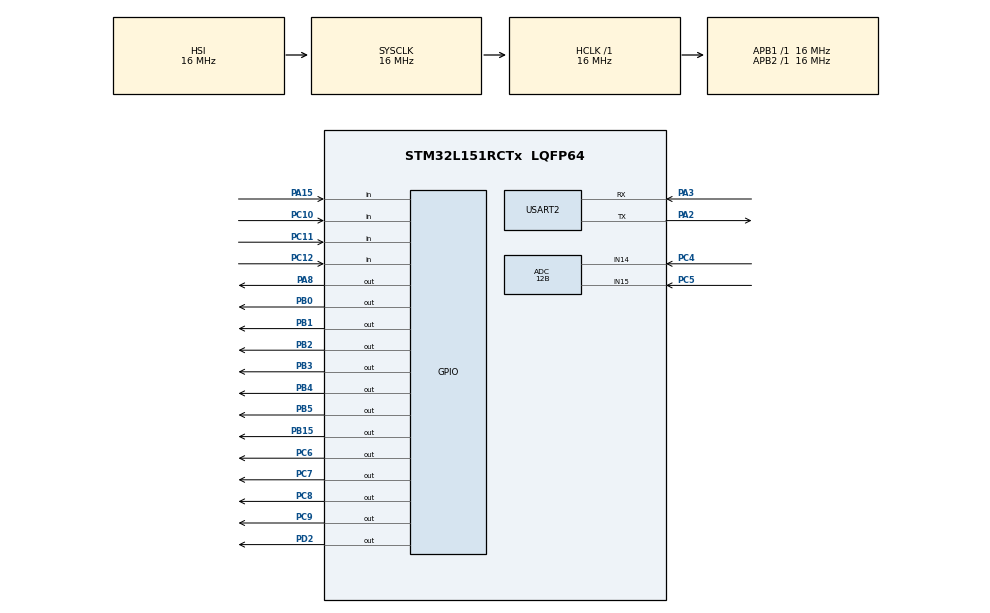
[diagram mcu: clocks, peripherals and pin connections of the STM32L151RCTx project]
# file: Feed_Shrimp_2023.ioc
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ADC.Channel-0\#ChannelRegularConversion=ADC_CHANNEL_15
ADC.Channel-1\#ChannelRegularConversion=ADC_CHANNEL_14
ADC.ContinuousConvMode=DISABLE
ADC.DMAContinuousRequests=ENABLE
ADC.ExternalTrigConv=ADC_SOFTWARE_START
ADC.InjNumberOfConversion=0
ADC.NbrOfConversion=2
ADC.NbrOfConversionFlag=1
ADC.Rank-0\#ChannelRegularConversion=1
ADC.Rank-1\#ChannelRegularConversion=2
ADC.Resolution=ADC_RESOLUTION_12B
ADC.SamplingTime-0\#ChannelRegularConversion=ADC_SAMPLETIME_384CYCLES
ADC.SamplingTime-1\#ChannelRegularConversion=ADC_SAMPLETIME_384CYCLES
ADC.ScanConvMode=ADC_SCAN_ENABLE
Dma.ADC.0.Direction=DMA_PERIPH_TO_MEMORY
Dma.ADC.0.Instance=DMA1_Channel1
Dma.ADC.0.MemDataAlignment=DMA_MDATAALIGN_HALFWORD
Dma.ADC.0.MemInc=DMA_MINC_ENABLE
Dma.ADC.0.Mode=DMA_CIRCULAR
Dma.ADC.0.PeriphDataAlignment=DMA_PDATAALIGN_HALFWORD
Dma.ADC.0.PeriphInc=DMA_PINC_DISABLE
Dma.ADC.0.Priority=DMA_PRIORITY_LOW
Dma.Request0=ADC
Mcu.Family=STM32L1
Mcu.Name=STM32L151RCTx
Mcu.Package=LQFP64
NVIC.ADC1_IRQn=true\:0\:0\:false\:false\:true\:true\:true\:true
NVIC.DMA1_Channel1_IRQn=true\:0\:0\:true\:false\:true\:false\:true\:true
NVIC.PriorityGroup=NVIC_PRIORITYGROUP_4
NVIC.TIM3_IRQn=true\:1\:0\:true\:false\:true\:true\:true\:true
NVIC.USART2_IRQn=true\:2\:0\:true\:false\:true\:true\:true\:true
PA13.Mode=Serial_Wire
PA13.Signal=SYS_JTMS-SWDIO
PA14.Mode=Serial_Wire
PA14.Signal=SYS_JTCK-SWCLK
PA15.GPIO_PuPd=GPIO_PULLUP
PA15.Signal=GPIO_Input
PA2.Mode=Asynchronous
PA2.Signal=USART2_TX
PA3.Mode=Asynchronous
PA3.Signal=USART2_RX
PA8.Signal=GPIO_Output
PB0.GPIO_PuPd=GPIO_PULLDOWN
PB0.Signal=GPIO_Output
PB1.GPIO_PuPd=GPIO_PULLDOWN
PB1.Signal=GPIO_Output
PB15.Signal=GPIO_Output
PB2.GPIO_PuPd=GPIO_PULLDOWN
PB2.Signal=GPIO_Output
PB3.GPIO_PuPd=GPIO_PULLDOWN
PB3.Signal=GPIO_Output
PB4.GPIO_PuPd=GPIO_PULLDOWN
PB4.Signal=GPIO_Output
PB5.GPIO_PuPd=GPIO_PULLDOWN
PB5.Signal=GPIO_Output
PC10.GPIO_PuPd=GPIO_PULLUP
PC10.Signal=GPIO_Input
PC11.GPIO_PuPd=GPIO_PULLUP
PC11.Signal=GPIO_Input
PC12.GPIO_PuPd=GPIO_PULLUP
PC12.Signal=GPIO_Input
PC14-OSC32_IN.Mode=LSE-External-Oscillator
PC14-OSC32_IN.Signal=RCC_OSC32_IN
PC15-OSC32_OUT.Mode=LSE-External-Oscillator
PC15-OSC32_OUT.Signal=RCC_OSC32_OUT
PC4.Mode=IN14
PC4.Signal=ADC_IN14
PC5.Mode=IN15
PC5.Signal=ADC_IN15
PC6.Signal=GPIO_Output
PC7.Signal=GPIO_Output
PC8.Signal=GPIO_Output
PC9.Signal=GPIO_Output
PD2.Signal=GPIO_Output
ProjectManager.HeapSize=0x200
ProjectManager.StackSize=0x400
ProjectManager.TargetToolchain=MDK-ARM V5
RCC.AHBFreq_Value=16000000
RCC.APB1Freq_Value=16000000
RCC.APB1TimFreq_Value=16000000
RCC.APB2Freq_Value=16000000
RCC.APB2TimFreq_Value=16000000
RCC.HCLKFreq_Value=16000000
RCC.HSE_VALUE=24000000
RCC.HSI_VALUE=16000000
RCC.MSI_VALUE=2097000
RCC.RTCClockSelection=RCC_RTCCLKSOURCE_LSE
RCC.SYSCLKFreq_VALUE=16000000
RCC.SYSCLKSource=RCC_SYSCLKSOURCE_HSI
RCC.VCOOutputFreq_Value=48000000
TIM3.Period=999
TIM3.Prescaler=160
USART2.VirtualMode=VM_ASYNC
VP_RTC_VS_RTC_Activate.Mode=RTC_Enabled
VP_RTC_VS_RTC_Calendar.Mode=RTC_Calendar
VP_TIM3_VS_ClockSourceINT.Mode=Internal
board=custom

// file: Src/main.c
/* USER CODE BEGIN Header */
/**
  ******************************************************************************
  * @file           : main.c
  * @brief          : Main program body
  ******************************************************************************
  * @attention
  *
  * <h2><center>&copy; Copyright (c) 2023 STMicroelectronics.
  * All rights reserved.</center></h2>
  *
  * This software component is licensed by ST under BSD 3-Clause license,
  * the "License"; You may not use this file except in compliance with the
  * License. You may obtain a copy of the License at:
  *                        opensource.org/licenses/BSD-3-Clause
  *
  ******************************************************************************
  */
/* USER CODE END Header */
#include "main.h"

/* USER CODE BEGIN Includes */
#include "main.h"
#include "user_relay_led.h"
#include "user_check_button.h"
#include "uart_sim.h"
#include "ACS712.h"
#include "uart_debug.h"
//#include "user_sim.h"
/* USER CODE END Includes */

/* USER CODE BEGIN PD */

//#define On_Off_Sim GPIO_PIN_13
//#define Pin_PWKEY  GPIO_PIN_0
//#define Pin_RESET  GPIO_PIN_5
/* USER CODE END PD */

ADC_HandleTypeDef hadc;
DMA_HandleTypeDef hdma_adc;

RTC_HandleTypeDef hrtc;

TIM_HandleTypeDef htim3;

UART_HandleTypeDef huart2;

/* USER CODE BEGIN PV */
uint32_t runTime=0;
uint32_t time1=10; //so giay cho an
uint32_t time2=1;	//so phut giua 2 chu ky ban
uint32_t time3=5; //thoi gian giua 2 moto vang va chinh luong
float threshold_Relay1_Float=0.0;
float threshold_Relay2_Float=0.0;

uint32_t threshold_Relay1_Uint=0;
uint32_t threshold_Relay2_Uint=0;

uint16_t State=1;
uint16_t stateWarning_Run=0;
uint16_t stateWarning_Relay3=0;
uint16_t checkState=0;
uint16_t countState=0;
uint16_t setupCount=1;
uint16_t check_Power_OFF=0;
uint16_t check_Power=0;
uint16_t check_Power_setup=0;

//gio phut giay
uint16_t hh, mm, ss;

CLCD_Name LCD;

UART_BUFFER rx_uart2;

float ACS_Value_Float=0;
uint32_t ACS_Value_Uint=0;
uint16_t ADC_stamp[2];

uint8_t check_RTC=0;
RTC_TimeTypeDef sTime;
RTC_DateTypeDef sDate;
//UART_BUFFER rx_uart1;
/* USER CODE END PV */

void SystemClock_Config(void);
static void MX_GPIO_Init(void);
static void MX_DMA_Init(void);
static void MX_ADC_Init(void);
static void MX_USART2_UART_Init(void);
static void MX_TIM3_Init(void);
static void MX_RTC_Init(void);
/* USER CODE BEGIN PFP */
void HAL_TIM_PeriodElapsedCallback(TIM_HandleTypeDef *htim);
void HAL_UART_RxCpltCallback(UART_HandleTypeDef *huart);
void HAL_ADC_ConvCpltCallback(ADC_HandleTypeDef* hadc);
/* USER CODE END PFP */

/* USER CODE BEGIN 0 */
void Check_BT_Callback(void);
void Check_Test(void);
void Set_Time(uint16_t *hh, uint16_t *mm, uint16_t *ss);
void Run_Feed_Shrimp(void);
void Display_Time(void);
void Setup_SIM(void);
void Read_Flash(void);
void Check_SMS_Receive(void);
void State_Warning(void);
void Time_RTC(void);
/* USER CODE END 0 */

int main(void)
{
  /* USER CODE BEGIN 1 */
	//rx_uart1.huart=&huart1;
	rx_uart2.huart=&huart2;
  /* USER CODE END 1 */

  /* MCU Configuration--------------------------------------------------------*/

  /* Reset of all peripherals, Initializes the Flash interface and the Systick. */
  HAL_Init();

  /* Configure the system clock */
  SystemClock_Config();

  /* Initialize all configured peripherals */
  MX_GPIO_Init();
  MX_DMA_Init();
  MX_ADC_Init();
  MX_USART2_UART_Init();
  MX_TIM3_Init();
  MX_RTC_Init();
  /* USER CODE BEGIN 2 */
	//HAL_TIM_Base_Start_IT(&htim2);
	HAL_TIM_Base_Start_IT(&htim3);
	HAL_UART_Receive_IT(&huart2,&rx_uart2.buffer,4);
	//HAL_ADC_Start_IT(&hadc);
	//HAL_ADC_Start(&hadc);
	//HAL_UART_Receive_IT(&huart1,&rx_uart1.buffer,1);

	CLCD_4BIT_Init(&LCD, 16,2, GPIOB, GPIO_PIN_15,GPIOC, GPIO_PIN_6,
                             GPIOC, GPIO_PIN_7,GPIOC, GPIO_PIN_8,
                             GPIOC, GPIO_PIN_9,GPIOA, GPIO_PIN_8);
	Read_Flash();

	CLCD_SetCursor(&LCD, 0,0);
	CLCD_WriteString(&LCD, "        00:00:00");

	Run_Begin(State,&setupCount, ACS_Value_Float ,time1, time2, time3, threshold_Relay1_Uint, threshold_Relay2_Uint);
	HAL_ADC_Start_DMA(&hadc, (uint32_t*) ADC_stamp,2);
  /* USER CODE END 2 */

  /* Infinite loop */
  while (1)
  {

    /* USER CODE BEGIN 3 */
		//Check_SMS_Receive();
		Time_RTC();
		Display_Time();
		debug_uart(&huart2, State, countState);
		Check_BT_Callback();
		LED_Status_Run(State, countState);

		USER_LCD_Display_Warning(&LCD, stateWarning_Run);
		State_Warning();

		if(State==0 )
		{
			stateWarning_Run=0;
			if(setupCount!=4) BT_Check_Up_Down(setupCount);
			BT_Esc_Exit_Setup(&State, &setupCount, ACS_Value_Float,time1, time2, time3, threshold_Relay1_Uint, threshold_Relay2_Uint);
			USER_LCD_Display_Running_OR_Setup(State);
			USER_LCD_Display_Setup(&LCD, setupCount);
			USER_LCD_Display_X(&LCD, setupCount, ACS_Value_Float);
		}

		if(State==1 )
		{
			Run_Feed_Shrimp();
			USER_LCD_Display_Running_OR_Setup(State);
			USER_LCD_Display_Running(&LCD, setupCount, ACS_Value_Float);
			USER_LCD_Display_X(&LCD, setupCount, ACS_Value_Float);
		}
  }
  /* USER CODE END 3 */
}

void SystemClock_Config(void)
{
  RCC_OscInitTypeDef RCC_OscInitStruct = {0};
  RCC_ClkInitTypeDef RCC_ClkInitStruct = {0};
  RCC_PeriphCLKInitTypeDef PeriphClkInit = {0};

  /** Configure the main internal regulator output voltage
  */
  __HAL_PWR_VOLTAGESCALING_CONFIG(PWR_REGULATOR_VOLTAGE_SCALE1);

  /** Initializes the RCC Oscillators according to the specified parameters
  * in the RCC_OscInitTypeDef structure.
  */
  RCC_OscInitStruct.OscillatorType = RCC_OSCILLATORTYPE_HSI|RCC_OSCILLATORTYPE_LSE;
  RCC_OscInitStruct.LSEState = RCC_LSE_ON;
  RCC_OscInitStruct.HSIState = RCC_HSI_ON;
  RCC_OscInitStruct.HSICalibrationValue = RCC_HSICALIBRATION_DEFAULT;
  RCC_OscInitStruct.PLL.PLLState = RCC_PLL_NONE;
  if (HAL_RCC_OscConfig(&RCC_OscInitStruct) != HAL_OK)
  {
    Error_Handler();
  }

  /** Initializes the CPU, AHB and APB buses clocks
  */
  RCC_ClkInitStruct.ClockType = RCC_CLOCKTYPE_HCLK|RCC_CLOCKTYPE_SYSCLK
                              |RCC_CLOCKTYPE_PCLK1|RCC_CLOCKTYPE_PCLK2;
  RCC_ClkInitStruct.SYSCLKSource = RCC_SYSCLKSOURCE_HSI;
  RCC_ClkInitStruct.AHBCLKDivider = RCC_SYSCLK_DIV1;
  RCC_ClkInitStruct.APB1CLKDivider = RCC_HCLK_DIV1;
  RCC_ClkInitStruct.APB2CLKDivider = RCC_HCLK_DIV1;

  if (HAL_RCC_ClockConfig(&RCC_ClkInitStruct, FLASH_LATENCY_0) != HAL_OK)
  {
    Error_Handler();
  }
  PeriphClkInit.PeriphClockSelection = RCC_PERIPHCLK_RTC;
  PeriphClkInit.RTCClockSelection = RCC_RTCCLKSOURCE_LSE;
  if (HAL_RCCEx_PeriphCLKConfig(&PeriphClkInit) != HAL_OK)
  {
    Error_Handler();
  }
}

static void MX_ADC_Init(void)
{

  ADC_ChannelConfTypeDef sConfig = {0};

  /** Configure the global features of the ADC (Clock, Resolution, Data Alignment and number of conversion)
  */
  hadc.Instance = ADC1;
  hadc.Init.ClockPrescaler = ADC_CLOCK_ASYNC_DIV1;
  hadc.Init.Resolution = ADC_RESOLUTION_12B;
  hadc.Init.DataAlign = ADC_DATAALIGN_RIGHT;
  hadc.Init.ScanConvMode = ADC_SCAN_ENABLE;
  hadc.Init.EOCSelection = ADC_EOC_SEQ_CONV;
  hadc.Init.LowPowerAutoWait = ADC_AUTOWAIT_DISABLE;
  hadc.Init.LowPowerAutoPowerOff = ADC_AUTOPOWEROFF_DISABLE;
  hadc.Init.ChannelsBank = ADC_CHANNELS_BANK_A;
  hadc.Init.ContinuousConvMode = DISABLE;
  hadc.Init.NbrOfConversion = 2;
  hadc.Init.DiscontinuousConvMode = DISABLE;
  hadc.Init.ExternalTrigConv = ADC_SOFTWARE_START;
  hadc.Init.ExternalTrigConvEdge = ADC_EXTERNALTRIGCONVEDGE_NONE;
  hadc.Init.DMAContinuousRequests = ENABLE;
  if (HAL_ADC_Init(&hadc) != HAL_OK)
  {
    Error_Handler();
  }

  /** Configure for the selected ADC regular channel its corresponding rank in the sequencer and its sample time.
  */
  sConfig.Channel = ADC_CHANNEL_15;
  sConfig.Rank = ADC_REGULAR_RANK_1;
  sConfig.SamplingTime = ADC_SAMPLETIME_384CYCLES;
  if (HAL_ADC_ConfigChannel(&hadc, &sConfig) != HAL_OK)
  {
    Error_Handler();
  }

  /** Configure for the selected ADC regular channel its corresponding rank in the sequencer and its sample time.
  */
  sConfig.Channel = ADC_CHANNEL_14;
  sConfig.Rank = ADC_REGULAR_RANK_2;
  if (HAL_ADC_ConfigChannel(&hadc, &sConfig) != HAL_OK)
  {
    Error_Handler();
  }

}

static void MX_RTC_Init(void)
{

  RTC_TimeTypeDef sTime = {0};
  RTC_DateTypeDef sDate = {0};

  /** Initialize RTC Only
  */
  hrtc.Instance = RTC;
  hrtc.Init.HourFormat = RTC_HOURFORMAT_24;
  hrtc.Init.AsynchPrediv = 127;
  hrtc.Init.SynchPrediv = 255;
  hrtc.Init.OutPut = RTC_OUTPUT_DISABLE;
  hrtc.Init.OutPutPolarity = RTC_OUTPUT_POLARITY_HIGH;
  hrtc.Init.OutPutType = RTC_OUTPUT_TYPE_OPENDRAIN;
  if (HAL_RTC_Init(&hrtc) != HAL_OK)
  {
    Error_Handler();
  }

  /* USER CODE BEGIN Check_RTC_BKUP */
	if(HAL_RTCEx_BKUPRead(&hrtc, RTC_BKP_DR1)==0x2608)
	{
  /* USER CODE END Check_RTC_BKUP */

  /** Initialize RTC and set the Time and Date
  */
  sTime.Hours = 0x0;
  sTime.Minutes = 0x0;
  sTime.Seconds = 0x0;
  sTime.DayLightSaving = RTC_DAYLIGHTSAVING_NONE;
  sTime.StoreOperation = RTC_STOREOPERATION_RESET;
  if (HAL_RTC_SetTime(&hrtc, &sTime, RTC_FORMAT_BCD) != HAL_OK)
  {
    Error_Handler();
  }
  sDate.WeekDay = RTC_WEEKDAY_MONDAY;
  sDate.Month = RTC_MONTH_JANUARY;
  sDate.Date = 0x1;
  sDate.Year = 0x0;

  if (HAL_RTC_SetDate(&hrtc, &sDate, RTC_FORMAT_BCD) != HAL_OK)
  {
    Error_Handler();
  }
  /* USER CODE BEGIN RTC_Init 2 */
	HAL_RTCEx_BKUPWrite(&hrtc, RTC_BKP_DR1, 0x2608);
	}
  /* USER CODE END RTC_Init 2 */

}

static void MX_TIM3_Init(void)
{

  TIM_ClockConfigTypeDef sClockSourceConfig = {0};
  TIM_MasterConfigTypeDef sMasterConfig = {0};

  htim3.Instance = TIM3;
  htim3.Init.Prescaler = 160;
  htim3.Init.CounterMode = TIM_COUNTERMODE_UP;
  htim3.Init.Period = 999;
  htim3.Init.ClockDivision = TIM_CLOCKDIVISION_DIV1;
  htim3.Init.AutoReloadPreload = TIM_AUTORELOAD_PRELOAD_DISABLE;
  if (HAL_TIM_Base_Init(&htim3) != HAL_OK)
  {
    Error_Handler();
  }
  sClockSourceConfig.ClockSource = TIM_CLOCKSOURCE_INTERNAL;
  if (HAL_TIM_ConfigClockSource(&htim3, &sClockSourceConfig) != HAL_OK)
  {
    Error_Handler();
  }
  sMasterConfig.MasterOutputTrigger = TIM_TRGO_RESET;
  sMasterConfig.MasterSlaveMode = TIM_MASTERSLAVEMODE_DISABLE;
  if (HAL_TIMEx_MasterConfigSynchronization(&htim3, &sMasterConfig) != HAL_OK)
  {
    Error_Handler();
  }

}

static void MX_USART2_UART_Init(void)
{

  huart2.Instance = USART2;
  huart2.Init.BaudRate = 115200;
  huart2.Init.WordLength = UART_WORDLENGTH_8B;
  huart2.Init.StopBits = UART_STOPBITS_1;
  huart2.Init.Parity = UART_PARITY_NONE;
  huart2.Init.Mode = UART_MODE_TX_RX;
  huart2.Init.HwFlowCtl = UART_HWCONTROL_NONE;
  huart2.Init.OverSampling = UART_OVERSAMPLING_16;
  if (HAL_UART_Init(&huart2) != HAL_OK)
  {
    Error_Handler();
  }

}

static void MX_DMA_Init(void)
{

  /* DMA controller clock enable */
  __HAL_RCC_DMA1_CLK_ENABLE();

  /* DMA interrupt init */
  /* DMA1_Channel1_IRQn interrupt configuration */
  HAL_NVIC_SetPriority(DMA1_Channel1_IRQn, 0, 0);
  HAL_NVIC_EnableIRQ(DMA1_Channel1_IRQn);

}

static void MX_GPIO_Init(void)
{
  GPIO_InitTypeDef GPIO_InitStruct = {0};

  /* GPIO Ports Clock Enable */
  __HAL_RCC_GPIOC_CLK_ENABLE();
  __HAL_RCC_GPIOA_CLK_ENABLE();
  __HAL_RCC_GPIOB_CLK_ENABLE();
  __HAL_RCC_GPIOD_CLK_ENABLE();

  /*Configure GPIO pin Output Level */
  HAL_GPIO_WritePin(GPIOB, GPIO_PIN_0|GPIO_PIN_1|GPIO_PIN_2|GPIO_PIN_15
                          |GPIO_PIN_3|GPIO_PIN_4|GPIO_PIN_5, GPIO_PIN_RESET);

  /*Configure GPIO pin Output Level */
  HAL_GPIO_WritePin(GPIOC, GPIO_PIN_6|GPIO_PIN_7|GPIO_PIN_8|GPIO_PIN_9, GPIO_PIN_RESET);

  /*Configure GPIO pin Output Level */
  HAL_GPIO_WritePin(GPIOA, GPIO_PIN_8, GPIO_PIN_RESET);

  /*Configure GPIO pin Output Level */
  HAL_GPIO_WritePin(GPIOD, GPIO_PIN_2, GPIO_PIN_RESET);

  /*Configure GPIO pins : PB0 PB1 PB2 PB3
                           PB4 PB5 */
  GPIO_InitStruct.Pin = GPIO_PIN_0|GPIO_PIN_1|GPIO_PIN_2|GPIO_PIN_3
                          |GPIO_PIN_4|GPIO_PIN_5;
  GPIO_InitStruct.Mode = GPIO_MODE_OUTPUT_PP;
  GPIO_InitStruct.Pull = GPIO_PULLDOWN;
  GPIO_InitStruct.Speed = GPIO_SPEED_FREQ_LOW;
  HAL_GPIO_Init(GPIOB, &GPIO_InitStruct);

  /*Configure GPIO pin : PB15 */
  GPIO_InitStruct.Pin = GPIO_PIN_15;
  GPIO_InitStruct.Mode = GPIO_MODE_OUTPUT_PP;
  GPIO_InitStruct.Pull = GPIO_NOPULL;
  GPIO_InitStruct.Speed = GPIO_SPEED_FREQ_LOW;
  HAL_GPIO_Init(GPIOB, &GPIO_InitStruct);

  /*Configure GPIO pins : PC6 PC7 PC8 PC9 */
  GPIO_InitStruct.Pin = GPIO_PIN_6|GPIO_PIN_7|GPIO_PIN_8|GPIO_PIN_9;
  GPIO_InitStruct.Mode = GPIO_MODE_OUTPUT_PP;
  GPIO_InitStruct.Pull = GPIO_NOPULL;
  GPIO_InitStruct.Speed = GPIO_SPEED_FREQ_LOW;
  HAL_GPIO_Init(GPIOC, &GPIO_InitStruct);

  /*Configure GPIO pin : PA8 */
  GPIO_InitStruct.Pin = GPIO_PIN_8;
  GPIO_InitStruct.Mode = GPIO_MODE_OUTPUT_PP;
  GPIO_InitStruct.Pull = GPIO_NOPULL;
  GPIO_InitStruct.Speed = GPIO_SPEED_FREQ_LOW;
  HAL_GPIO_Init(GPIOA, &GPIO_InitStruct);

  /*Configure GPIO pin : PA15 */
  GPIO_InitStruct.Pin = GPIO_PIN_15;
  GPIO_InitStruct.Mode = GPIO_MODE_INPUT;
  GPIO_InitStruct.Pull = GPIO_PULLUP;
  HAL_GPIO_Init(GPIOA, &GPIO_InitStruct);

  /*Configure GPIO pins : PC10 PC11 PC12 */
  GPIO_InitStruct.Pin = GPIO_PIN_10|GPIO_PIN_11|GPIO_PIN_12;
  GPIO_InitStruct.Mode = GPIO_MODE_INPUT;
  GPIO_InitStruct.Pull = GPIO_PULLUP;
  HAL_GPIO_Init(GPIOC, &GPIO_InitStruct);

  /*Configure GPIO pin : PD2 */
  GPIO_InitStruct.Pin = GPIO_PIN_2;
  GPIO_InitStruct.Mode = GPIO_MODE_OUTPUT_PP;
  GPIO_InitStruct.Pull = GPIO_NOPULL;
  GPIO_InitStruct.Speed = GPIO_SPEED_FREQ_LOW;
  HAL_GPIO_Init(GPIOD, &GPIO_InitStruct);

}

/* USER CODE BEGIN 4 */

void State_Warning()
{
	//Warning_Relay1(&State, &stateWarning_Run, &countState, ACS_Value_Uint, threshold_Relay1_Uint);
	Warning_Relay2(&State, &stateWarning_Relay3, &countState, ACS_Value_Uint, threshold_Relay2_Uint);

	if(stateWarning_Run == 1)
	{
		//Toggle_LED_Warning();
	}
	else
	{
		//Reset_LED_Warning();
	}

	if(stateWarning_Relay3 == 1)
	{
		Toggle_LED_Warning();
		Set_Relay3();
		//Set_LED_NC();
	}
	else
	{
		Reset_LED_Warning();
		Reset_Relay3();
		//Reset_LED_NC();
	}
}

void Run_Feed_Shrimp(void)
{
	if(countState==0)
	{
		Set_Relay1();
		countState++;
		runTime=0;
	}
	if(countState==1 && runTime>=time3 )
	{
		Set_Relay2();
		countState++;
		runTime=0;
	}
	if(countState==2 && runTime>=time1 )
	{
		Reset_Relay2();
		countState++;
		runTime=0;
	}
	if(countState==3 && runTime>=time3 )
	{
		Reset_Relay1();
		countState++;
		runTime=0;
	}
	if(countState==4 && runTime>=60*time2)
	{
		runTime=0;
		countState=0;
	}
}

void Check_BT_Callback(void)
{
	Check_BT_ENTER(&State, &checkState, &setupCount, &time1, &time2, &time3, &threshold_Relay1_Uint, &threshold_Relay2_Uint );
	Check_BT_ESC(State, &setupCount);
	Check_BT_UP(State, &stateWarning_Relay3);
	Check_BT_DOWN(State, &stateWarning_Relay3);

	Check_Test();
}

void Set_Time(uint16_t *hh, uint16_t *mm, uint16_t *ss)
{
	const uint16_t MINUTES_OF_THE_HOUR=60;
	const uint16_t SECOND_OF_THE_HOUR=60;
	const uint32_t SECOND_OF_THE_DAY=86400;

	*hh=runTime/(MINUTES_OF_THE_HOUR*SECOND_OF_THE_HOUR);
	*mm=(runTime-(*hh)*MINUTES_OF_THE_HOUR*SECOND_OF_THE_HOUR)/SECOND_OF_THE_HOUR;
	*ss=(runTime-(*hh)*MINUTES_OF_THE_HOUR*SECOND_OF_THE_HOUR-(*mm)*SECOND_OF_THE_HOUR);

	if(runTime>=SECOND_OF_THE_DAY)
	{
	runTime=0; *hh=0; *mm=0; *ss=0;
	}
}

void Check_Test(void)
{
	if(checkState==1)
	{
		Reset_Relay1();
		Reset_Relay2();
		Reset_Relay3();
		countState=0;
		runTime=0;
		checkState=0;
	}
	if(State==0)
	{
		Reset_Relay1();
		Reset_Relay2();
		Reset_Relay3();
		countState=0;
		runTime=0;
		if(check_Power_setup==0)
		{
			FLASH_Write_Program(FLASH_USER_START_ADDR_PROGRAM, FLASH_USER_END_ADDR_PROGRAM,1, State, countState, runTime);
			check_Power_setup=1;
		}
	}
}

void Display_Time(void)
{
	Set_Time(&hh, &mm, &ss);
	LCD_Change_State_Time_HH_MM_SS(hh, mm, ss);
	UintTime_To_CharTime_HH_MM_SS(hh,  mm, ss);
	USER_LCD_Display_Time(&LCD);
}

void Read_Flash(void)
{
	check_Power_OFF=FLASH_ReadData32(FLASH_USER_START_ADDR);

	if(check_Power_OFF == 1)
	{
		time1=FLASH_ReadData32(FLASH_USER_START_ADDR + 4);
		time2=FLASH_ReadData32(FLASH_USER_START_ADDR + 8);
		time3=FLASH_ReadData32(FLASH_USER_START_ADDR + 12);
		threshold_Relay1_Uint=FLASH_ReadData32(FLASH_USER_START_ADDR + 16);
		threshold_Relay2_Uint=FLASH_ReadData32(FLASH_USER_START_ADDR + 20);
	}
	else
	{
		threshold_Relay1_Uint = threshold_Relay1_Float*pow(10,LENGTH_MOD_FLOAT);
		threshold_Relay2_Uint = threshold_Relay2_Float*pow(10,LENGTH_MOD_FLOAT);
	}

	check_Power=FLASH_ReadData32(FLASH_USER_START_ADDR_PROGRAM );
	if(check_Power==1)
	{
		State=FLASH_ReadData32(FLASH_USER_START_ADDR_PROGRAM + 4);
		countState=FLASH_ReadData32(FLASH_USER_START_ADDR_PROGRAM + 8);
		runTime=FLASH_ReadData32(FLASH_USER_START_ADDR_PROGRAM + 12);
		if(countState==1)
		{
			Set_Relay1();
		}
		if(countState==2)
		{
			Set_Relay1();
			Set_Relay2();
		}
	}
}

void Time_RTC(void)
{
	HAL_RTC_GetTime(&hrtc, &sTime, RTC_FORMAT_BIN);
	HAL_RTC_GetDate(&hrtc, &sDate, RTC_FORMAT_BIN);
	if(sTime.Seconds != check_RTC)
	{
		check_RTC = sTime.Seconds;
		if(State == 1)
		{
			runTime++;
		}

		if(State==0)
		{
			countState=0;
			runTime=0;
		}

		if(countState>0 && runTime>0)
		{
			FLASH_Write_Program(FLASH_USER_START_ADDR_PROGRAM, FLASH_USER_END_ADDR_PROGRAM,1, State, countState, runTime);
			check_Power_setup=0;
		}
	}
}

void HAL_TIM_PeriodElapsedCallback(TIM_HandleTypeDef *htim)
{
  UNUSED(htim);

	if(htim->Instance == htim3.Instance)
	{
		HAL_ADC_Start_DMA(&hadc, (uint32_t*) ADC_stamp, 2);
		Calib_CountState(countState);
		ACS_712(&ACS_Value_Float, &ACS_Value_Uint, ADC_stamp[0], ADC_stamp[1]);
	}
}

void HAL_UART_RxCpltCallback(UART_HandleTypeDef *huart)
{
  /* Prevent unused argument(s) compilation warning */
  UNUSED(huart);
	if(huart->Instance == huart2.Instance)
	{
		rx_uart2.sim_rx[(rx_uart2.countBuffer)++]= rx_uart2.buffer;
		HAL_UART_Receive_IT(&huart2,&rx_uart2.buffer,1);
	}

  /* NOTE: This function should not be modified, when the callback is needed,
           the HAL_UART_RxCpltCallback could be implemented in the user file
   */
}
void HAL_ADC_ConvCpltCallback(ADC_HandleTypeDef* hadc)
{
  /* Prevent unused argument(s) compilation warning */
  UNUSED(hadc);

  /* NOTE : This function should not be modified. When the callback is needed,
            function HAL_ADC_ConvCpltCallback must be implemented in the user file.
   */
}

/* USER CODE END 4 */

void Error_Handler(void)
{
}
